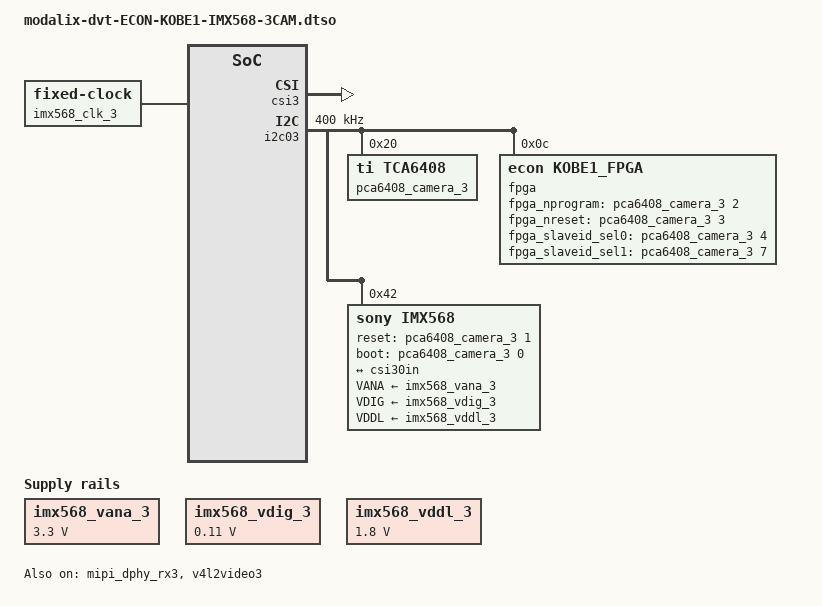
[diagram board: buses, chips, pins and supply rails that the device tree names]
// SPDX-License-Identifier: (GPL-2.0+ OR MIT)
/*
 * Copyright (c) 2024 SiMa ai
 */

/dts-v1/;
/plugin/;

&{/} {
    imx568_vana_3: csi3_fixedregulator@0 {
        compatible = "regulator-fixed";
        regulator-name = "imx568_vana_3";
        regulator-min-microvolt = <3300000>;
        regulator-max-microvolt = <3300000>;
        enable-active-high;
        startup-delay-us = <300000>;
        regulator-always-on;
    };
    imx568_vdig_3: csi3_fixedregulator@1 {
        compatible = "regulator-fixed";
        regulator-name = "imx568_vdig_3";
        regulator-min-microvolt = <110000>;
        regulator-max-microvolt = <110000>;
        regulator-always-on;
    };
    imx568_vddl_3: csi3_fixedregulator@2 {
        compatible = "regulator-fixed";
        regulator-name = "imx568_vddl_3";
        regulator-min-microvolt = <1800000>;
        regulator-max-microvolt = <1800000>;
        regulator-always-on;
    };
    imx568_clk_3: csi3_camera-clk {
        compatible = "fixed-clock";
        #clock-cells = <0>;
        clock-frequency = <37125000>;
    };
};

&csi3 {
    status = "okay";
};

&axi_vdma3 {
    status = "okay";
};

&mipi_dphy_rx3 {
    status = "okay";
};

&v4l2video3 {
    status = "okay";
};

&v4l2vdma3 {
    status = "okay";
};

&csi30in {
    clock-lanes = <0>;
    data-lanes = <1 2>;
    link-frequencies = /bits/ 64 <594000000>;
    remote-endpoint = <&cam30out>;
    clock-continuous;
};

&i2c03 {
    status = "okay";
    clock-frequency = <400000>;
    #address-cells = <1>;
    #size-cells = <0>;

   pca6408_camera_3: pca6408@20 {
		compatible = "ti,tca6408";
		gpio-controller;
		#gpio-cells = <2>;
		reg = <0x20>;
		status = "okay";
	};

    fpga: fpga@c {
		compatible = "econ,kobe1_fpga";
		reg = <0x0c>;
		status = "okay";
		fpga_nprogram-gpios = <&pca6408_camera_3 2 0>;
        fpga_nreset-gpios = <&pca6408_camera_3 3 0>;
        fpga_slaveid_sel0-gpios = <&pca6408_camera_3 4 0>;
        fpga_slaveid_sel1-gpios = <&pca6408_camera_3 7 0>;
		mipi_filter_dt1 = <0x92>;
		mipi_filter_dt2 = <0x93>;
		mipi_filter_dt3 = <0xb7>;
		mipi_filter_dt4 = <0x7f>;
		mipi_speed = <1188>;
		mipi_tx_clockmode = <0>; // Discontinuous
		mipi_rx_clockmode = <0>; // Discontinuous
	};

    imx568: imx568@42 {
        compatible = "sony,imx568";
        reg = <0x42>;

        clocks = <&imx568_clk_3>;
        clock-names = "xclk";

        VANA-supply = <&imx568_vana_3>;
        VDIG-supply = <&imx568_vdig_3>;
        VDDL-supply = <&imx568_vddl_3>;
        reset-gpios = <&pca6408_camera_3 1 0>;
        boot-gpios = <&pca6408_camera_3 0 0>;
        camera_mipi_lanes = <2>;
        cam_fw_name = "imx568_cam_fw.bin";

        port@1 {
            cam30out: endpoint@0 {
                clock-lanes = <0>;
                data-lanes = <1 2>;
                link-frequencies = /bits/ 64 <594000000>;
                remote-endpoint = <&csi30in>;
                clock-continuous;
            };
        };
    };
};
